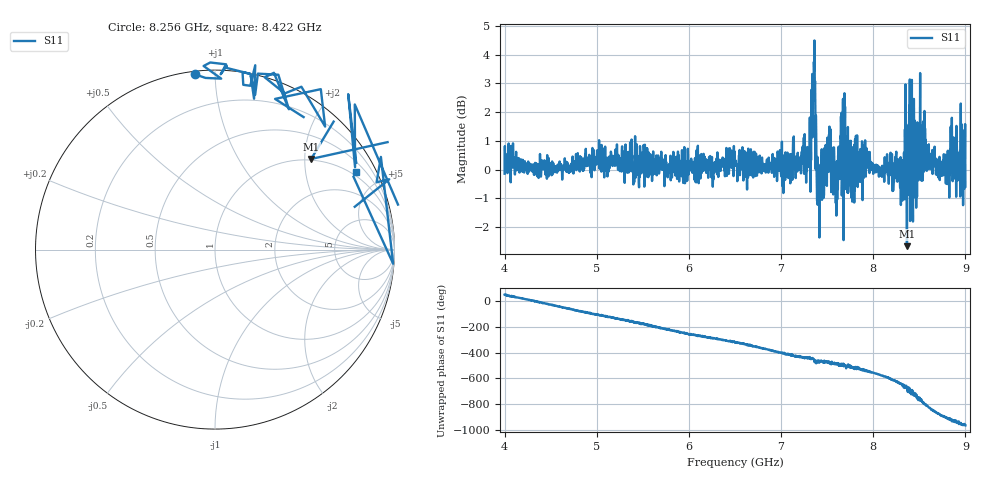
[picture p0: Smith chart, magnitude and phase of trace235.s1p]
! Created with skrf 1.8.0 (http://scikit-rf.org).
# Hz S RI R 50.0
!freq ReS11 ImS11
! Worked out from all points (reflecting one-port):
!   1601 points, 4 GHz to 9 GHz, reference 50 ohm
!   lowest |S11| = -2.7 dB at 8.366 GHz (marker M1), VSWR 6.59, Z = 48.6 + j107 ohm
!   phase of S11 starts at 53 deg and turns -1021 deg over the sweep
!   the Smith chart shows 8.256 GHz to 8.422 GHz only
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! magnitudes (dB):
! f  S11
! 4 GHz  -0.1
! 4.066 GHz  -0.4
! 4.625 GHz  -0.3
! 5.25 GHz  0.0
! 5.875 GHz  -0.1
! 6.5 GHz  0.1
! 7.125 GHz  0.3
! 7.294 GHz  0.1
! 7.353 GHz  2.8
! 7.409 GHz  -0.4
! 7.512 GHz  0.8
! 7.609 GHz  -1.0
! 7.631 GHz  -0.1
! 7.669 GHz  1.9
! 7.703 GHz  -0.7
! 7.75 GHz  0.2
! 7.928 GHz  0.2
! 8.097 GHz  0.1
! 8.262 GHz  -0.4
! 8.316 GHz  -1.1
! 8.334 GHz  0.6
! 8.366 GHz  -2.7
! 8.375 GHz  0.4
! 8.412 GHz  0.0
! 8.531 GHz  0.7
! 8.731 GHz  0.2
! 8.972 GHz  0.8
! 9 GHz  -0.6
